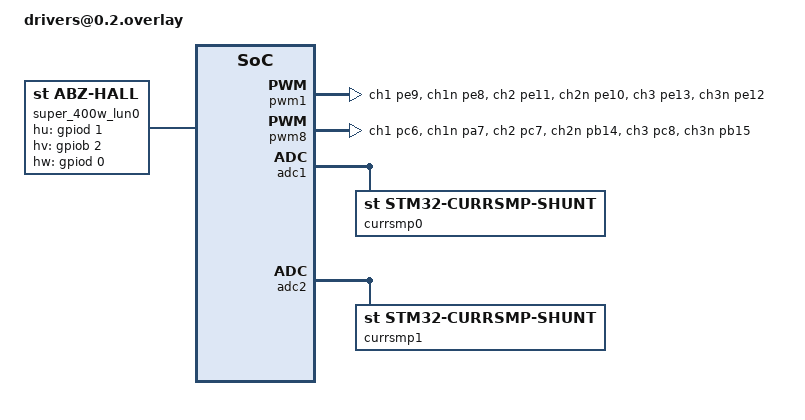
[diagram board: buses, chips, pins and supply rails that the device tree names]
/* 必须有根节点 /，然后把要修改/新增的内容写在里面 */
/ {
	/* 统一把 motors 放在根节点下，避免散落在各处 */
	motors {
		motor0: motor_0 {
			compatible = "motor-bldc";
			control-algorithm = <&foc0>;
			feedback = <&super_400w_lun0>;
			currsmp  = <&currsmp0>;
			pwm      = <&pwm1>;
			status   = "okay";
		};

	};

	control_algorithm {
		foc0: ctrl_algo0 {
			compatible = "foc-ctrl-algo";
			modulate = <1>;
			status   = "okay";
		};

		foc1: ctrl_algo1 {
			compatible = "foc-ctrl-algo";
			modulate = <0>;
			status   = "okay";
		};
	};
};

/* 以下全部是“追加/覆盖”已存在的外设节点，用 &label {} 语法 */
&timers1 {
	pwm1: pwm {
		compatible = "st,stm32-pwm-custom";
		pinctrl-0 = <&tim1_ch1_pe9  &tim1_ch1n_pe8
			     &tim1_ch2_pe11 &tim1_ch2n_pe10
			     &tim1_ch3_pe13 &tim1_ch3n_pe12>;
		pinctrl-names = "default";
		timing-params = <120 13750 0>;
		slave = <0>;
		status = "okay";
	};
};

&timers8 {
	pwm8: pwm {
		compatible = "st,stm32-pwm-custom";
		pinctrl-0 = <&tim8_ch1_pc6 &tim8_ch1n_pa7
			     &tim8_ch2_pc7 &tim8_ch2n_pb14
			     &tim8_ch3_pc8 &tim8_ch3n_pb15>;
		pinctrl-names = "default";
		timing-params = <120 13750 0>;
		slave = <1>;
		status = "okay";
	};
};

&timers4 {
	super_400w_lun0: super_400w_lun {
		compatible = "st,abz-hall";
		pinctrl-0 = <&tim4_ch1_pb6 &tim4_ch2_pb7>;
		pinctrl-names = "default";
		lines       = <4096>;
		pole-pairs  = <15>;
		hu-gpios    = <&gpiod 1 GPIO_ACTIVE_HIGH>;
		hv-gpios    = <&gpiob 2 GPIO_ACTIVE_HIGH>;
		hw-gpios    = <&gpiod 0 GPIO_ACTIVE_HIGH>;
		status      = "okay";
	};
};

&spi3 {
	status = "disabled";                       
	pinctrl-0 = <&spi3_sck_pc10          
		     &spi3_miso_pc11
		     &spi3_mosi_pc12>;
	pinctrl-names = "default";
	cs-gpios = <&gpioa 15 (GPIO_ACTIVE_LOW | GPIO_PULL_UP)>;

	tle5012b0: tle5012b@0 {
		compatible = "infineon,tle5012b";
		reg = <0>;
		status = "disabled";
		spi-max-frequency = <8000000>; /* 1MHZ */
	};
};

&adc1 {
	currsmp0: currsmp {
		compatible = "st,stm32-currsmp-shunt";
		pinctrl-0 = <&adc1_inp15_pa3 &adc1_inp4_pc4
			     &adc1_inp16_pa0 &adc1_inp17_pa1
			     &adc1_inp14_pa2>;
		pinctrl-names = "default";
		adc-channels = <15 4 16 17 14>;
		adc-slave = <0>;
		status = "okay";
	};
};

&adc2 {
	currsmp1: currsmp {
		compatible = "st,stm32-currsmp-shunt";
		pinctrl-0 = <&adc2_inp8_pc5 &adc2_inp9_pb0 &adc2_inp5_pb1>;
		pinctrl-names = "default";
		adc-channels = <8 9 5>;
		adc-slave = <1>;
		status = "okay";
	};
};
